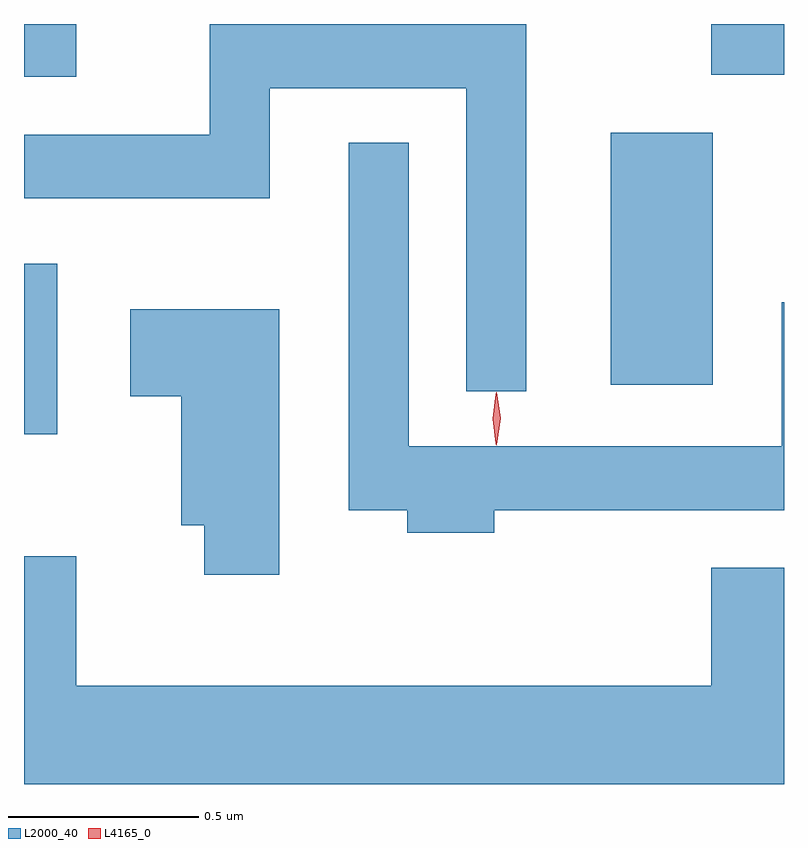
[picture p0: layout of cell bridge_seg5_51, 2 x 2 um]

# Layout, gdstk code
import gdstk
lib = gdstk.Library(unit=1e-6, precision=1e-09)
def R(c, l, rs):  # rectangles x0, y0, x1, y1
    for r in rs: c.add(gdstk.rectangle(r[:2], r[2:], *l))
def P(c, l, *ps):  # polygons
    for p in ps: c.add(gdstk.Polygon(p, *l))
L2000_40 = (2000, 40)
L4165_0 = (4165, 0)

bridge_seg5_51 = lib.new_cell('bridge_seg5_51')
R(bridge_seg5_51, L2000_40, [(1322.602,1464.386,1322.689,1464.834), (1324.146,1464.516,1324.414,1465.179), (1322.602,1465.326,1322.739,1465.465), (1324.411,1465.331,1324.602,1465.465)])
P(bridge_seg5_51, L2000_40, [(1323.924,1465.464),(1323.091,1465.464),(1323.091,1465.174),(1322.602,1465.174),(1322.602,1465.006),(1323.249,1465.006),(1323.249,1465.296),(1323.766,1465.296),(1323.766,1464.498),(1323.924,1464.498)],
  [(1323.839,1464.186),(1324.602,1464.186),(1324.602,1464.733),(1324.596,1464.733),(1324.596,1464.354),(1323.614,1464.354),(1323.614,1465.153),(1323.456,1465.153),(1323.456,1464.186),(1323.611,1464.186),(1323.611,1464.126),(1323.839,1464.126)],
  [(1323.274,1464.714),(1322.881,1464.714),(1322.881,1464.486),(1323.016,1464.486),(1323.016,1464.146),(1323.076,1464.146),(1323.076,1464.016),(1323.274,1464.016)],
  [(1324.602,1464.034),(1324.411,1464.034),(1324.411,1463.724),(1322.739,1463.724),(1322.739,1464.064),(1322.602,1464.064),(1322.602,1463.465),(1324.602,1463.465)])
P(bridge_seg5_51, L4165_0, [(1323.846,1464.357),(1323.845,1464.358),(1323.836,1464.427),(1323.845,1464.496),(1323.846,1464.496),(1323.846,1464.496),(1323.856,1464.427),(1323.846,1464.358)],
  [(1323.844,1464.359),(1323.844,1464.36),(1323.835,1464.426),(1323.844,1464.492),(1323.845,1464.493),(1323.845,1464.492),(1323.854,1464.426),(1323.845,1464.36)])

lib.write_gds('bridge_seg5_51.gds')
